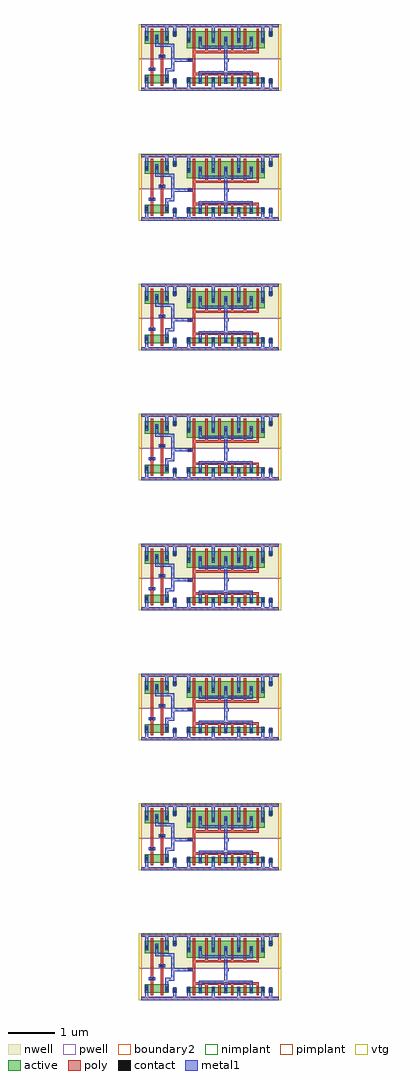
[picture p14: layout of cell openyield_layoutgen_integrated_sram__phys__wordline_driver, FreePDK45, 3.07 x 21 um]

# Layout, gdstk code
import gdstk
lib = gdstk.Library(unit=1e-6, precision=5e-10)
def R(c, l, rs):  # rectangles x0, y0, x1, y1
    for r in rs: c.add(gdstk.rectangle(r[:2], r[2:], *l))
def A(c, l, x, y, w, h, nx, ny, dx, dy):  # array of equal rectangles
    R(c, l, [(x+i*dx, y+j*dy, x+i*dx+w, y+j*dy+h) for i in range(nx) for j in range(ny)])
active = (1, 0)
pwell = (2, 0)
nwell = (3, 0)
nimplant = (4, 0)
pimplant = (5, 0)
vtg = (6, 0)
poly = (9, 0)
contact = (10, 0)
metal1 = (11, 0)
boundary2 = (239, 0)

sram_1rw_32x16_freepdk45 = lib.new_cell('sram_1rw_32x16_freepdk45_contact_11')
R(sram_1rw_32x16_freepdk45, active, [(0,0.0225,0.09,0.1125)])
R(sram_1rw_32x16_freepdk45, nwell, [(-0.055,-0.0325,0.145,0.1675)])
R(sram_1rw_32x16_freepdk45, pimplant, [(0,0.0225,0.09,0.1125)])
R(sram_1rw_32x16_freepdk45, contact, [(0.0125,0.035,0.0775,0.1)])
R(sram_1rw_32x16_freepdk45, metal1, [(0.0125,0,0.0775,0.135)])
R(sram_1rw_32x16_freepdk45, boundary2, [(-0.055,-0.0325,0.145,0.1675)])

c_sram_1rw_32x16_freepdk45 = lib.new_cell('sram_1rw_32x16_freepdk45_pmos_m1_w0_270_sm1_dm1')
R(c_sram_1rw_32x16_freepdk45, active, [(0,0,0.305,0.27)])
R(c_sram_1rw_32x16_freepdk45, nwell, [(-0.08,-0.08,0.385,0.35)])
R(c_sram_1rw_32x16_freepdk45, pimplant, [(0,0,0.305,0.27)])
R(c_sram_1rw_32x16_freepdk45, vtg, [(-0.08,-0.08,0.385,0.35)])
R(c_sram_1rw_32x16_freepdk45, poly, [(0.1275,-0.055,0.1775,0.325), (0.1275,-0.055,0.1775,0.325)])
R(c_sram_1rw_32x16_freepdk45, metal1, [(0.0125,0.0675,0.0775,0.2025), (0.2275,0.0675,0.2925,0.2025)])
R(c_sram_1rw_32x16_freepdk45, boundary2, [(-0.08,-0.08,0.385,0.35)])
c_sram_1rw_32x16_freepdk45.add(gdstk.Reference(sram_1rw_32x16_freepdk45, (0,0.0675)))
c_sram_1rw_32x16_freepdk45.add(gdstk.Reference(sram_1rw_32x16_freepdk45, (0.215,0.0675)))
c_sram_1rw_32x16_freepdk45.add(gdstk.Label('G', (0.1525,0.135), layer=9, texttype=0))
c_sram_1rw_32x16_freepdk45.add(gdstk.Label('S', (0.045,0.135), layer=11, texttype=0))
c_sram_1rw_32x16_freepdk45.add(gdstk.Label('D', (0.26,0.135), layer=11, texttype=0))

c_sram_1rw_32x16_freepdk45_ = lib.new_cell('sram_1rw_32x16_freepdk45_contact_10')
R(c_sram_1rw_32x16_freepdk45_, active, [(0,0.0225,0.09,0.1125)])
R(c_sram_1rw_32x16_freepdk45_, pwell, [(-0.055,-0.0325,0.145,0.1675)])
R(c_sram_1rw_32x16_freepdk45_, nimplant, [(0,0.0225,0.09,0.1125)])
R(c_sram_1rw_32x16_freepdk45_, contact, [(0.0125,0.035,0.0775,0.1)])
R(c_sram_1rw_32x16_freepdk45_, metal1, [(0.0125,0,0.0775,0.135)])
R(c_sram_1rw_32x16_freepdk45_, boundary2, [(-0.055,-0.0325,0.145,0.1675)])

c_sram_1rw_32x16_freepdk45__ = lib.new_cell('sram_1rw_32x16_freepdk45_nmos_m1_w0_180_sm1_dactive')
R(c_sram_1rw_32x16_freepdk45__, active, [(0,0,0.305,0.18), (0.215,0.045,0.305,0.135)])
R(c_sram_1rw_32x16_freepdk45__, pwell, [(-0.08,-0.08,0.385,0.26)])
R(c_sram_1rw_32x16_freepdk45__, nimplant, [(0,0,0.305,0.18)])
R(c_sram_1rw_32x16_freepdk45__, vtg, [(-0.08,-0.08,0.385,0.26)])
R(c_sram_1rw_32x16_freepdk45__, poly, [(0.1275,-0.055,0.1775,0.235), (0.1275,-0.055,0.1775,0.235)])
R(c_sram_1rw_32x16_freepdk45__, metal1, [(0.0125,0.0225,0.0775,0.1575)])
R(c_sram_1rw_32x16_freepdk45__, boundary2, [(-0.08,-0.08,0.385,0.26)])
c_sram_1rw_32x16_freepdk45__.add(gdstk.Reference(c_sram_1rw_32x16_freepdk45_, (0,0.0225)))
c_sram_1rw_32x16_freepdk45__.add(gdstk.Label('G', (0.1525,0.09), layer=9, texttype=0))
c_sram_1rw_32x16_freepdk45__.add(gdstk.Label('S', (0.045,0.09), layer=11, texttype=0))
c_sram_1rw_32x16_freepdk45__.add(gdstk.Label('D', (0.26,0.09), layer=1, texttype=0))

c_sram_1rw_32x16_freepdk45___ = lib.new_cell('sram_1rw_32x16_freepdk45_nmos_m1_w0_180_sactive_dm1')
R(c_sram_1rw_32x16_freepdk45___, active, [(0,0,0.305,0.18), (0,0.045,0.09,0.135)])
R(c_sram_1rw_32x16_freepdk45___, pwell, [(-0.08,-0.08,0.385,0.26)])
R(c_sram_1rw_32x16_freepdk45___, nimplant, [(0,0,0.305,0.18)])
R(c_sram_1rw_32x16_freepdk45___, vtg, [(-0.08,-0.08,0.385,0.26)])
R(c_sram_1rw_32x16_freepdk45___, poly, [(0.1275,-0.055,0.1775,0.235), (0.1275,-0.055,0.1775,0.235)])
R(c_sram_1rw_32x16_freepdk45___, metal1, [(0.2275,0.0225,0.2925,0.1575)])
R(c_sram_1rw_32x16_freepdk45___, boundary2, [(-0.08,-0.08,0.385,0.26)])
c_sram_1rw_32x16_freepdk45___.add(gdstk.Reference(c_sram_1rw_32x16_freepdk45_, (0.215,0.0225)))
c_sram_1rw_32x16_freepdk45___.add(gdstk.Label('G', (0.1525,0.09), layer=9, texttype=0))
c_sram_1rw_32x16_freepdk45___.add(gdstk.Label('S', (0.045,0.09), layer=1, texttype=0))
c_sram_1rw_32x16_freepdk45___.add(gdstk.Label('D', (0.26,0.09), layer=11, texttype=0))

c_sram_1rw_32x16_freepdk45____ = lib.new_cell('sram_1rw_32x16_freepdk45_contact_12')
R(c_sram_1rw_32x16_freepdk45____, active, [(0,0.0225,0.09,0.1125)])
R(c_sram_1rw_32x16_freepdk45____, nwell, [(-0.055,-0.0325,0.145,0.1675)])
R(c_sram_1rw_32x16_freepdk45____, nimplant, [(0,0.0225,0.09,0.1125)])
R(c_sram_1rw_32x16_freepdk45____, contact, [(0.0125,0.035,0.0775,0.1)])
R(c_sram_1rw_32x16_freepdk45____, metal1, [(0.0125,0,0.0775,0.135)])
R(c_sram_1rw_32x16_freepdk45____, boundary2, [(-0.055,-0.0325,0.145,0.1675)])

c_sram_1rw_32x16_freepdk45_____ = lib.new_cell('sram_1rw_32x16_freepdk45_contact_13')
R(c_sram_1rw_32x16_freepdk45_____, active, [(0,0.0225,0.09,0.1125)])
R(c_sram_1rw_32x16_freepdk45_____, pwell, [(-0.055,-0.0325,0.145,0.1675)])
R(c_sram_1rw_32x16_freepdk45_____, pimplant, [(0,0.0225,0.09,0.1125)])
R(c_sram_1rw_32x16_freepdk45_____, contact, [(0.0125,0.035,0.0775,0.1)])
R(c_sram_1rw_32x16_freepdk45_____, metal1, [(0.0125,0,0.0775,0.135)])
R(c_sram_1rw_32x16_freepdk45_____, boundary2, [(-0.055,-0.0325,0.145,0.1675)])

c_sram_1rw_32x16_freepdk45______ = lib.new_cell('sram_1rw_32x16_freepdk45_contact_14')
R(c_sram_1rw_32x16_freepdk45______, poly, [(0.03,0,0.105,0.075)])
R(c_sram_1rw_32x16_freepdk45______, contact, [(0.035,0.005,0.1,0.07)])
R(c_sram_1rw_32x16_freepdk45______, metal1, [(0,0.005,0.135,0.07)])
R(c_sram_1rw_32x16_freepdk45______, boundary2, [(0,0,0.135,0.075)])

c_sram_1rw_32x16_freepdk45_______ = lib.new_cell('sram_1rw_32x16_freepdk45_pnand2')
R(c_sram_1rw_32x16_freepdk45_______, pwell, [(-0.055,-0.0325,0.9575,0.655)])
R(c_sram_1rw_32x16_freepdk45_______, nwell, [(-0.055,0.655,0.9575,1.4)])
R(c_sram_1rw_32x16_freepdk45_______, vtg, [(-0.055,-0.0325,0.9575,0.655), (-0.055,0.655,0.9575,1.4)])
R(c_sram_1rw_32x16_freepdk45_______, poly, [(0.2075,0.36,0.2575,0.915), (0.4225,0.36,0.4725,0.915), (0.2075,0.39,0.2325,0.465), (0.4225,0.67,0.4475,0.745)])
R(c_sram_1rw_32x16_freepdk45_______, metal1, [(0,-0.0325,0.9025,0.0325), (0.0925,-0.0325,0.1575,0.1475), (0.6925,0,0.7575,0.17), (0.5225,0.2825,0.5875,0.4125), (0.5225,0.38,0.5875,0.445), (0.555,0.38,0.685,0.445), (0.6525,0.38,0.7175,0.445), (0.165,0.395,0.3,0.46), (0.6525,0.4125,0.7175,0.94), (0.38,0.675,0.515,0.74), (0.3075,0.9075,0.3725,0.9725), (0.34,0.9075,0.685,0.9725), (0.6525,0.9075,0.7175,0.9725), (0.3075,0.94,0.3725,1.0375), (0.0925,1.0375,0.1575,1.3975), (0.5225,1.0375,0.5875,1.3975), (0.6925,1.195,0.7575,1.365), (0,1.3325,0.9025,1.3975)])
R(c_sram_1rw_32x16_freepdk45_______, boundary2, [(0,0,0.9025,1.365), (0,0,0.9025,1.365)])
c_sram_1rw_32x16_freepdk45_______.add(gdstk.Reference(c_sram_1rw_32x16_freepdk45, (0.08,0.97)))
c_sram_1rw_32x16_freepdk45_______.add(gdstk.Reference(c_sram_1rw_32x16_freepdk45, (0.295,0.97)))
c_sram_1rw_32x16_freepdk45_______.add(gdstk.Reference(c_sram_1rw_32x16_freepdk45__, (0.08,0.125)))
c_sram_1rw_32x16_freepdk45_______.add(gdstk.Reference(c_sram_1rw_32x16_freepdk45___, (0.295,0.125)))
c_sram_1rw_32x16_freepdk45_______.add(gdstk.Reference(c_sram_1rw_32x16_freepdk45____, (0.68,1.1275)))
c_sram_1rw_32x16_freepdk45_______.add(gdstk.Reference(c_sram_1rw_32x16_freepdk45_____, (0.68,0.1025)))
c_sram_1rw_32x16_freepdk45_______.add(gdstk.Reference(c_sram_1rw_32x16_freepdk45______, (0.165,0.39)))
c_sram_1rw_32x16_freepdk45_______.add(gdstk.Reference(c_sram_1rw_32x16_freepdk45______, (0.38,0.67)))
c_sram_1rw_32x16_freepdk45_______.add(gdstk.Label('Z', (0.685,0.94), layer=11, texttype=0))
c_sram_1rw_32x16_freepdk45_______.add(gdstk.Label('gnd', (0.45,0), layer=11, texttype=0))
c_sram_1rw_32x16_freepdk45_______.add(gdstk.Label('vdd', (0.45,1.365), layer=11, texttype=0))
c_sram_1rw_32x16_freepdk45_______.add(gdstk.Label('A', (0.2325,0.4275), layer=11, texttype=0))
c_sram_1rw_32x16_freepdk45_______.add(gdstk.Label('B', (0.4475,0.7075), layer=11, texttype=0))

c_sram_1rw_32x16_freepdk45________ = lib.new_cell('sram_1rw_32x16_freepdk45_pmos_m6_w0_360_sm1_dm1_da_p')
R(c_sram_1rw_32x16_freepdk45________, active, [(0,0,1.68,0.36)])
R(c_sram_1rw_32x16_freepdk45________, nwell, [(-0.08,-0.08,1.76,0.44)])
R(c_sram_1rw_32x16_freepdk45________, pimplant, [(0,0,1.68,0.36)])
R(c_sram_1rw_32x16_freepdk45________, vtg, [(-0.08,-0.08,1.76,0.44)])
A(c_sram_1rw_32x16_freepdk45________, poly, 0.1275, -0.055, 0.05, 0.47, 6, 1, 0.275, 0)
R(c_sram_1rw_32x16_freepdk45________, poly, [(0.1275,-0.105,1.5525,-0.055)])
A(c_sram_1rw_32x16_freepdk45________, metal1, 0.2575, 0.015, 0.065, 0.165, 3, 1, 0.55, 0)
R(c_sram_1rw_32x16_freepdk45________, metal1, [(0.2575,-0.0175,1.4225,0.0475), (0.0125,0.1125,0.0775,0.2475), (0.5325,0.1125,0.5975,0.2475), (1.0825,0.1125,1.1475,0.2475), (1.6025,0.1125,1.6675,0.2475)])
R(c_sram_1rw_32x16_freepdk45________, boundary2, [(-0.08,-0.105,1.76,0.44)])
c_sram_1rw_32x16_freepdk45________.add(gdstk.Reference(sram_1rw_32x16_freepdk45, (0,0.1125)))
c_sram_1rw_32x16_freepdk45________.add(gdstk.Reference(sram_1rw_32x16_freepdk45, (0.245,0.1125)))
c_sram_1rw_32x16_freepdk45________.add(gdstk.Reference(sram_1rw_32x16_freepdk45, (0.52,0.1125)))
c_sram_1rw_32x16_freepdk45________.add(gdstk.Reference(sram_1rw_32x16_freepdk45, (0.795,0.1125)))
c_sram_1rw_32x16_freepdk45________.add(gdstk.Reference(sram_1rw_32x16_freepdk45, (1.07,0.1125)))
c_sram_1rw_32x16_freepdk45________.add(gdstk.Reference(sram_1rw_32x16_freepdk45, (1.345,0.1125)))
c_sram_1rw_32x16_freepdk45________.add(gdstk.Reference(sram_1rw_32x16_freepdk45, (1.59,0.1125)))
c_sram_1rw_32x16_freepdk45________.add(gdstk.Label('G', (0.84,-0.08), layer=9, texttype=0))
c_sram_1rw_32x16_freepdk45________.add(gdstk.Label('S', (1.635,0.18), layer=11, texttype=0))
c_sram_1rw_32x16_freepdk45________.add(gdstk.Label('S', (1.115,0.18), layer=11, texttype=0))
c_sram_1rw_32x16_freepdk45________.add(gdstk.Label('S', (0.045,0.18), layer=11, texttype=0))
c_sram_1rw_32x16_freepdk45________.add(gdstk.Label('S', (0.565,0.18), layer=11, texttype=0))
c_sram_1rw_32x16_freepdk45________.add(gdstk.Label('D', (0.84,0.015), layer=11, texttype=0))

c_sram_1rw_32x16_freepdk45_________ = lib.new_cell('sram_1rw_32x16_freepdk45_nmos_m6_w0_120_sm1_dm1_da_p')
R(c_sram_1rw_32x16_freepdk45_________, active, [(0,0,1.68,0.12)])
R(c_sram_1rw_32x16_freepdk45_________, pwell, [(-0.08,-0.08,1.76,0.2)])
R(c_sram_1rw_32x16_freepdk45_________, nimplant, [(0,0,1.68,0.12)])
R(c_sram_1rw_32x16_freepdk45_________, vtg, [(-0.08,-0.08,1.76,0.2)])
A(c_sram_1rw_32x16_freepdk45_________, poly, 0.1275, -0.055, 0.05, 0.23, 6, 1, 0.275, 0)
R(c_sram_1rw_32x16_freepdk45_________, poly, [(0.1275,0.175,1.5525,0.225)])
A(c_sram_1rw_32x16_freepdk45_________, metal1, 0.2575, 0.06, 0.065, 0.165, 3, 1, 0.55, 0)
R(c_sram_1rw_32x16_freepdk45_________, metal1, [(0.0125,-0.0075,0.0775,0.1275), (0.5325,-0.0075,0.5975,0.1275), (1.0825,-0.0075,1.1475,0.1275), (1.6025,-0.0075,1.6675,0.1275), (0.2575,0.1925,1.4225,0.2575)])
R(c_sram_1rw_32x16_freepdk45_________, boundary2, [(-0.08,-0.08,1.76,0.2575)])
c_sram_1rw_32x16_freepdk45_________.add(gdstk.Reference(c_sram_1rw_32x16_freepdk45_, (0,-0.0075)))
c_sram_1rw_32x16_freepdk45_________.add(gdstk.Reference(c_sram_1rw_32x16_freepdk45_, (0.245,-0.0075)))
c_sram_1rw_32x16_freepdk45_________.add(gdstk.Reference(c_sram_1rw_32x16_freepdk45_, (0.52,-0.0075)))
c_sram_1rw_32x16_freepdk45_________.add(gdstk.Reference(c_sram_1rw_32x16_freepdk45_, (0.795,-0.0075)))
c_sram_1rw_32x16_freepdk45_________.add(gdstk.Reference(c_sram_1rw_32x16_freepdk45_, (1.07,-0.0075)))
c_sram_1rw_32x16_freepdk45_________.add(gdstk.Reference(c_sram_1rw_32x16_freepdk45_, (1.345,-0.0075)))
c_sram_1rw_32x16_freepdk45_________.add(gdstk.Reference(c_sram_1rw_32x16_freepdk45_, (1.59,-0.0075)))
c_sram_1rw_32x16_freepdk45_________.add(gdstk.Label('G', (0.84,0.2), layer=9, texttype=0))
c_sram_1rw_32x16_freepdk45_________.add(gdstk.Label('S', (1.115,0.06), layer=11, texttype=0))
c_sram_1rw_32x16_freepdk45_________.add(gdstk.Label('S', (0.565,0.06), layer=11, texttype=0))
c_sram_1rw_32x16_freepdk45_________.add(gdstk.Label('S', (0.045,0.06), layer=11, texttype=0))
c_sram_1rw_32x16_freepdk45_________.add(gdstk.Label('S', (1.635,0.06), layer=11, texttype=0))
c_sram_1rw_32x16_freepdk45_________.add(gdstk.Label('D', (0.84,0.225), layer=11, texttype=0))

c_sram_1rw_32x16_freepdk45__________ = lib.new_cell('sram_1rw_32x16_freepdk45_pinv_0')
R(c_sram_1rw_32x16_freepdk45__________, pwell, [(-0.055,-0.0325,2.1175,0.655)])
R(c_sram_1rw_32x16_freepdk45__________, nwell, [(-0.055,0.655,2.1175,1.4)])
R(c_sram_1rw_32x16_freepdk45__________, vtg, [(-0.055,-0.0325,2.1175,0.655), (-0.055,0.655,2.1175,1.4)])
R(c_sram_1rw_32x16_freepdk45__________, poly, [(0.2075,0.35,0.2575,0.775), (0.14,0.585,0.2075,0.66)])
R(c_sram_1rw_32x16_freepdk45__________, metal1, [(0,-0.0325,2.0625,0.0325), (0.0925,-0.0325,0.1575,0.1175), (0.6125,-0.0325,0.6775,0.1175), (1.1625,-0.0325,1.2275,0.1175), (1.6825,-0.0325,1.7475,0.1175), (1.8525,0,1.9175,0.17), (0.8875,0.3175,0.9525,0.9275), (0.0725,0.59,0.2075,0.655), (0.92,0.59,0.985,0.655), (0.0925,0.9925,0.1575,1.3975), (0.6125,0.9925,0.6775,1.3975), (1.1625,0.9925,1.2275,1.3975), (1.6825,0.9925,1.7475,1.3975), (1.8525,1.195,1.9175,1.365), (0,1.3325,2.0625,1.3975)])
R(c_sram_1rw_32x16_freepdk45__________, boundary2, [(0,0,2.0625,1.365), (0,0,2.0625,1.365)])
c_sram_1rw_32x16_freepdk45__________.add(gdstk.Reference(c_sram_1rw_32x16_freepdk45________, (0.08,0.88)))
c_sram_1rw_32x16_freepdk45__________.add(gdstk.Reference(c_sram_1rw_32x16_freepdk45_________, (0.08,0.125)))
c_sram_1rw_32x16_freepdk45__________.add(gdstk.Reference(c_sram_1rw_32x16_freepdk45____, (1.84,1.1275)))
c_sram_1rw_32x16_freepdk45__________.add(gdstk.Reference(c_sram_1rw_32x16_freepdk45_____, (1.84,0.1025)))
c_sram_1rw_32x16_freepdk45__________.add(gdstk.Reference(c_sram_1rw_32x16_freepdk45______, (0.0725,0.585)))
c_sram_1rw_32x16_freepdk45__________.add(gdstk.Label('A', (0.14,0.6225), layer=11, texttype=0))
c_sram_1rw_32x16_freepdk45__________.add(gdstk.Label('Z', (0.9525,0.6225), layer=11, texttype=0))
c_sram_1rw_32x16_freepdk45__________.add(gdstk.Label('gnd', (1.03,0), layer=11, texttype=0))
c_sram_1rw_32x16_freepdk45__________.add(gdstk.Label('vdd', (1.03,1.365), layer=11, texttype=0))

gen_wl_driver = lib.new_cell('gen_wl_driver')
R(gen_wl_driver, metal1, [(0,-0.0325,2.965,0.0325), (0.165,0.395,0.3,0.46), (0.6525,0.59,0.7175,0.655), (0.685,0.59,1.0425,0.655), (1.8225,0.59,1.8875,0.655), (0.6525,0.6225,0.7175,0.94), (0.38,0.675,0.515,0.74), (0,1.3325,2.965,1.3975)])
R(gen_wl_driver, boundary2, [(0,0,2.965,1.365)])
gen_wl_driver.add(gdstk.Reference(c_sram_1rw_32x16_freepdk45_______, (0,0)))
gen_wl_driver.add(gdstk.Reference(c_sram_1rw_32x16_freepdk45__________, (0.9025,0)))
gen_wl_driver.add(gdstk.Label('Z', (1.855,0.6225), layer=11, texttype=0))
gen_wl_driver.add(gdstk.Label('A', (0.2325,0.4275), layer=11, texttype=0))
gen_wl_driver.add(gdstk.Label('B', (0.4475,0.7075), layer=11, texttype=0))
gen_wl_driver.add(gdstk.Label('gnd', (1.4825,0), layer=11, texttype=0))
gen_wl_driver.add(gdstk.Label('vdd', (1.4825,1.365), layer=11, texttype=0))

openyield_layoutgen_inte = lib.new_cell('openyield_layoutgen_integrated_sram__phys__wordline_driver')
openyield_layoutgen_inte.add(gdstk.Reference(gen_wl_driver, (7.775,20.1475)))
openyield_layoutgen_inte.add(gdstk.Reference(gen_wl_driver, (7.775,22.9425)))
openyield_layoutgen_inte.add(gdstk.Reference(gen_wl_driver, (7.775,25.7375)))
openyield_layoutgen_inte.add(gdstk.Reference(gen_wl_driver, (7.775,28.5325)))
openyield_layoutgen_inte.add(gdstk.Reference(gen_wl_driver, (7.775,31.3275)))
openyield_layoutgen_inte.add(gdstk.Reference(gen_wl_driver, (7.775,34.1225)))
openyield_layoutgen_inte.add(gdstk.Reference(gen_wl_driver, (7.775,36.9175)))
openyield_layoutgen_inte.add(gdstk.Reference(gen_wl_driver, (7.775,39.7125)))

lib.write_gds('openyield_layoutgen_integrated_sram__phys__wordline_driver.gds')
